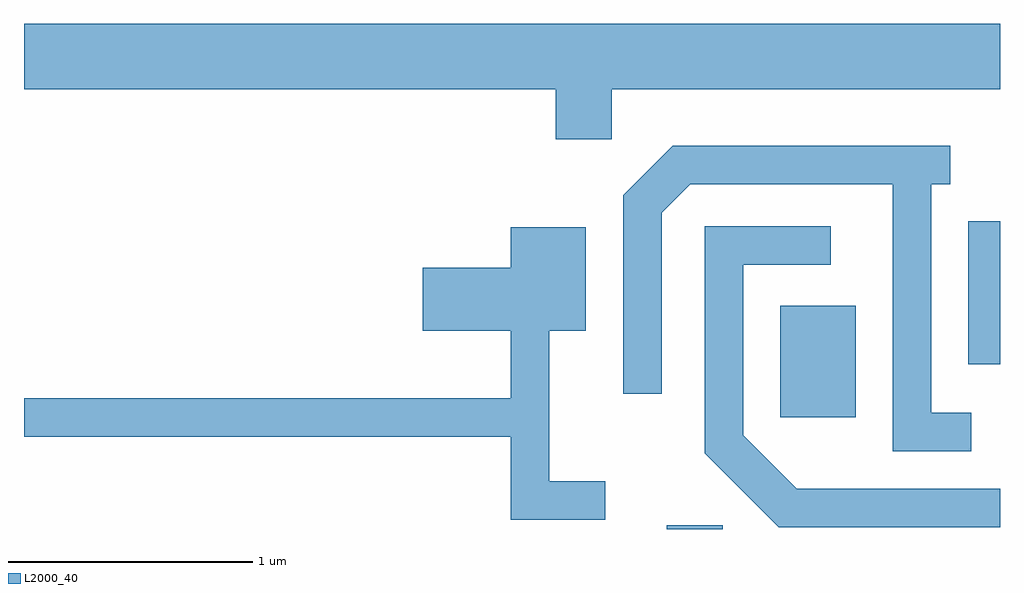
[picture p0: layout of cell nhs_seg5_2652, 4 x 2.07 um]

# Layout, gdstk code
import gdstk
lib = gdstk.Library(unit=1e-6, precision=1e-09)
def R(c, l, rs):  # rectangles x0, y0, x1, y1
    for r in rs: c.add(gdstk.rectangle(r[:2], r[2:], *l))
def P(c, l, *ps):  # polygons
    for p in ps: c.add(gdstk.Polygon(p, *l))
L2000_40 = (2000, 40)

nhs_seg5_2652 = lib.new_cell('nhs_seg5_2652')
R(nhs_seg5_2652, L2000_40, [(266.246,1486.072,266.474,1486.089), (266.711,1486.531,267.019,1486.989), (267.481,1486.748,267.611,1487.334)])
P(nhs_seg5_2652, L2000_40, [(266.019,1487.876),(267.611,1487.876),(267.611,1488.144),(263.611,1488.144),(263.611,1487.876),(265.791,1487.876),(265.791,1487.671),(266.019,1487.671)],
  [(267.493,1486.549),(267.329,1486.549),(267.329,1487.486),(267.408,1487.486),(267.408,1487.644),(266.269,1487.644),(266.066,1487.442),(266.066,1486.628),(266.224,1486.628),(266.224,1487.369),(266.342,1487.486),(267.171,1487.486),(267.171,1486.391),(267.493,1486.391)],
  [(267.611,1486.239),(266.777,1486.239),(266.559,1486.457),(266.559,1487.156),(266.918,1487.156),(266.918,1487.314),(266.401,1487.314),(266.401,1486.384),(266.704,1486.081),(267.611,1486.081)],
  [(265.993,1486.269),(265.764,1486.269),(265.764,1486.886),(265.914,1486.886),(265.914,1487.309),(265.606,1487.309),(265.606,1487.144),(265.246,1487.144),(265.246,1486.886),(265.606,1486.886),(265.606,1486.609),(263.611,1486.609),(263.611,1486.451),(265.606,1486.451),(265.606,1486.111),(265.993,1486.111)])

lib.write_gds('nhs_seg5_2652.gds')
